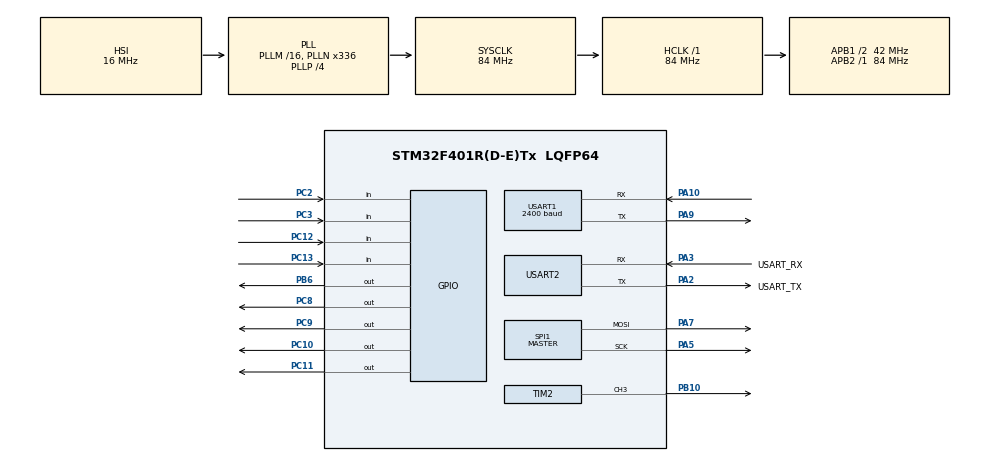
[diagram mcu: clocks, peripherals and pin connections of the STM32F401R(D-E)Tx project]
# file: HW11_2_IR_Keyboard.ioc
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Dma.Request0=SPI1_TX
Dma.SPI1_TX.0.Direction=DMA_MEMORY_TO_PERIPH
Dma.SPI1_TX.0.FIFOMode=DMA_FIFOMODE_DISABLE
Dma.SPI1_TX.0.Instance=DMA2_Stream3
Dma.SPI1_TX.0.MemDataAlignment=DMA_MDATAALIGN_BYTE
Dma.SPI1_TX.0.MemInc=DMA_MINC_ENABLE
Dma.SPI1_TX.0.Mode=DMA_NORMAL
Dma.SPI1_TX.0.PeriphDataAlignment=DMA_PDATAALIGN_BYTE
Dma.SPI1_TX.0.PeriphInc=DMA_PINC_DISABLE
Dma.SPI1_TX.0.Priority=DMA_PRIORITY_LOW
Mcu.Family=STM32F4
Mcu.Name=STM32F401R(D-E)Tx
Mcu.Package=LQFP64
NVIC.DMA2_Stream3_IRQn=true\:0\:0\:false\:false\:true\:false\:true\:true
NVIC.PriorityGroup=NVIC_PRIORITYGROUP_0
NVIC.SPI1_IRQn=true\:0\:0\:false\:false\:true\:true\:true\:true
NVIC.TIM1_UP_TIM10_IRQn=true\:0\:0\:false\:false\:true\:true\:true\:true
NVIC.TIM2_IRQn=true\:0\:0\:false\:false\:true\:true\:true\:true
NVIC.TIM3_IRQn=true\:0\:0\:false\:false\:true\:true\:true\:true
NVIC.USART1_IRQn=true\:0\:0\:false\:false\:true\:true\:true\:true
NVIC.USART2_IRQn=true\:0\:0\:false\:false\:true\:true\:true\:true
PA10.Mode=Asynchronous
PA10.Signal=USART1_RX
PA13.GPIO_Label=TMS
PA13.Mode=Serial_Wire
PA13.Signal=SYS_JTMS-SWDIO
PA14.GPIO_Label=TCK
PA14.Mode=Serial_Wire
PA14.Signal=SYS_JTCK-SWCLK
PA2.GPIO_Label=USART_TX
PA2.GPIO_Mode=GPIO_MODE_AF_PP
PA2.GPIO_PuPd=GPIO_NOPULL
PA2.GPIO_Speed=GPIO_SPEED_FREQ_LOW
PA2.Mode=Asynchronous
PA2.Signal=USART2_TX
PA3.GPIO_Label=USART_RX
PA3.GPIO_Mode=GPIO_MODE_AF_PP
PA3.GPIO_PuPd=GPIO_NOPULL
PA3.GPIO_Speed=GPIO_SPEED_FREQ_LOW
PA3.Mode=Asynchronous
PA3.Signal=USART2_RX
PA5.Mode=TX_Only_Simplex_Unidirect_Master
PA5.Signal=SPI1_SCK
PA6.Signal=SPI1_MISO
PA7.Mode=TX_Only_Simplex_Unidirect_Master
PA7.Signal=SPI1_MOSI
PA9.Mode=Asynchronous
PA9.Signal=USART1_TX
PB10.Signal=S_TIM2_CH3
PB3.GPIO_Label=SWO
PB3.Signal=SYS_JTDO-SWO
PB6.Signal=GPIO_Output
PC10.Signal=GPIO_Output
PC11.Signal=GPIO_Output
PC12.Signal=GPIO_Input
PC13-ANTI_TAMP.Signal=GPIO_Input
PC14-OSC32_IN.Mode=LSE-External-Oscillator
PC14-OSC32_IN.Signal=RCC_OSC32_IN
PC15-OSC32_OUT.Mode=LSE-External-Oscillator
PC15-OSC32_OUT.Signal=RCC_OSC32_OUT
PC2.Signal=GPIO_Input
PC3.Signal=GPIO_Input
PC8.Signal=GPIO_Output
PC9.Signal=GPIO_Output
PH0\ -\ OSC_IN.Mode=HSE-External-Clock-Source
PH0\ -\ OSC_IN.Signal=RCC_OSC_IN
PH1\ -\ OSC_OUT.Mode=HSE-External-Clock-Source
PH1\ -\ OSC_OUT.Signal=RCC_OSC_OUT
ProjectManager.HeapSize=0x200
ProjectManager.StackSize=0x400
ProjectManager.TargetToolchain=STM32CubeIDE
RCC.48MHZClocksFreq_Value=48000000
RCC.AHBFreq_Value=84000000
RCC.APB1CLKDivider=RCC_HCLK_DIV2
RCC.APB1Freq_Value=42000000
RCC.APB1TimFreq_Value=84000000
RCC.APB2Freq_Value=84000000
RCC.APB2TimFreq_Value=84000000
RCC.CortexFreq_Value=84000000
RCC.HCLKFreq_Value=84000000
RCC.HSE_VALUE=8000000
RCC.HSI_VALUE=16000000
RCC.PLLN=336
RCC.PLLP=RCC_PLLP_DIV4
RCC.PLLQ=7
RCC.SYSCLKFreq_VALUE=84000000
RCC.SYSCLKSource=RCC_SYSCLKSOURCE_PLLCLK
RCC.VCOOutputFreq_Value=336000000
SH.S_TIM2_CH3.0=TIM2_CH3,PWM Generation3 CH3
SPI1.BaudRatePrescaler=SPI_BAUDRATEPRESCALER_4
SPI1.Direction=SPI_DIRECTION_2LINES
SPI1.Mode=SPI_MODE_MASTER
SPI1.VirtualType=VM_MASTER
TIM10.Period=4000
TIM10.Prescaler=84-1
TIM2.Channel-PWM\ Generation3\ CH3=TIM_CHANNEL_3
TIM2.OCMode_PWM-PWM\ Generation3\ CH3=TIM_OCMODE_PWM2
TIM2.Period=2211-1
TIM2.Prescaler=0
TIM2.Pulse-PWM\ Generation3\ CH3=1105
TIM3.Period=35000-1
USART1.BaudRate=2400
USART1.Mode=MODE_RX
USART1.VirtualMode=VM_ASYNC
USART2.VirtualMode=VM_ASYNC
VP_TIM10_VS_ClockSourceINT.Mode=Enable_Timer
VP_TIM2_VS_ClockSourceINT.Mode=Internal
VP_TIM3_VS_ClockSourceINT.Mode=Internal
board=NUCLEO-F401RE

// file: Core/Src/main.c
/* USER CODE BEGIN Header */
/**
  ******************************************************************************
  * @file           : main.c
  * @brief          : Main program body
  ******************************************************************************
  * @attention
  *
  * Copyright (c) 2022 STMicroelectronics.
  * All rights reserved.
  *
  * This software is licensed under terms that can be found in the LICENSE file
  * in the root directory of this software component.
  * If no LICENSE file comes with this software, it is provided AS-IS.
  *
  ******************************************************************************
  */
/* USER CODE END Header */
#include "main.h"

SPI_HandleTypeDef hspi1;
DMA_HandleTypeDef hdma_spi1_tx;

TIM_HandleTypeDef htim2;
TIM_HandleTypeDef htim3;
TIM_HandleTypeDef htim10;

UART_HandleTypeDef huart1;
UART_HandleTypeDef huart2;

void SystemClock_Config(void);
static void MX_GPIO_Init(void);
static void MX_DMA_Init(void);
static void MX_USART2_UART_Init(void);
static void MX_TIM2_Init(void);
static void MX_TIM3_Init(void);
static void MX_USART1_UART_Init(void);
static void MX_SPI1_Init(void);
static void MX_TIM10_Init(void);

/* USER CODE BEGIN 0 */

#include <stdlib.h>
#include <string.h>

int column;

int matrixColumn = 0;
char symbol = '0';

struct character{
	uint8_t row;
	uint8_t col;
};

struct character ZERO[] = {
	{62,1},
	{65,2},
	{65,4},
	{65,8},
	{62,16}
};

struct character ONE[] = {
	{0,1},
	{1,2},
	{127,4},
	{33,8},
	{0,16}
};

struct character TWO[] = {
	{49,1},
	{73,2},
	{69,4},
	{67,8},
	{49,16}
};

struct character THREE[] = {
	{54,1},
	{73,2},
	{73,4},
	{73,8},
	{65,16}
};

struct character FOUR[] = {
	{4,1},
	{127,2},
	{36,4},
	{20,8},
	{12,16}
};

struct character FIVE[] = {
	{70,1},
	{73,2},
	{73,4},
	{73,8},
	{121,16}
};

struct character SIX[] = {
	{6,1},
	{73,2},
	{73,4},
	{73,8},
	{62,16}
};

struct character SEVEN[] = {
	{96,1},
	{80,2},
	{79,4},
	{64,8},
	{64,16}
};

struct character EIGHT[] = {
	{54,1},
	{73,2},
	{73,4},
	{73,8},
	{54,16}
};

struct character NINE[] = {
	{62,1},
	{73,2},
	{73,4},
	{73,8},
	{48,16}
};

struct character A[] = {
	{31,1},
	{36,2},
	{68,4},
	{36,8},
	{31,16}
};

struct character B[] = {
	{62,1},
	{73,2},
	{73,4},
	{73,8},
	{127,16}
};

struct character C[] = {
	{65,1},
	{65,2},
	{65,4},
	{65,8},
	{62,16}
};
struct character D[] = {
	{62,1},
	{65,2},
	{65,4},
	{65,8},
	{127,16}
};
struct character E[] = {
	{73,1},
	{73,2},
	{73,4},
	{73,8},
	{127,16}
};
struct character F[] = {
	{72,1},
	{72,2},
	{72,4},
	{72,8},
	{127,16}
};

char receivedByte;

int elapsedBaud = 0;

int column_index = 0;
int column_flag = 1;

//keyboard mapping buttons to a character
char map[16] = "FB73EA62D951C840";

int key_press[16];
int ack[16];

void IRByteTransmit(char byte){
	  elapsedBaud = 1;
	  HAL_TIM_Base_Start_IT(&htim3);
	  while(elapsedBaud == 0){

	  }

	  HAL_TIM_PWM_Start(&htim2, TIM_CHANNEL_3);
	  elapsedBaud = 0;
	  while(elapsedBaud == 0){

	  }

	  for(int i = 0; i < 8; i ++){
		  if((byte & (0x01 << i)) == 0){
			  HAL_TIM_PWM_Start(&htim2, TIM_CHANNEL_3);
		  }
		  else{
			  HAL_TIM_PWM_Stop(&htim2, TIM_CHANNEL_3);
		  }
		  elapsedBaud = 0;
		  while(elapsedBaud == 0){

		  }
	  }

	  HAL_TIM_PWM_Stop(&htim2, TIM_CHANNEL_3);
	  while(elapsedBaud == 0){

	  }

	  HAL_TIM_Base_Stop_IT(&htim3);
	  elapsedBaud = 0;

}

void HAL_UART_RxCpltCallback(UART_HandleTypeDef *huart){

	if(huart == &huart1){

		HAL_UART_Receive_IT(&huart1, (uint8_t*)&receivedByte, 1);

		char RX = receivedByte;

		symbol = RX;
	}
}

void HAL_TIM_PeriodElapsedCallback(TIM_HandleTypeDef *htim){

	if(htim == &htim3){
		elapsedBaud = 1;
	}
	if(htim == &htim10){
		struct character *chosen;
		switch (symbol) {
		case '0': chosen = ZERO; break;
		case '1': chosen = ONE; break;
		case '2': chosen = TWO; break;
		case '3': chosen = THREE; break;
		case '4': chosen = FOUR; break;
		case '5': chosen = FIVE; break;
		case '6': chosen = SIX; break;
		case '7': chosen = SEVEN; break;
		case '8': chosen = EIGHT; break;
		case '9': chosen = NINE; break;
		case 'A': chosen = A; break;
		case 'B': chosen = B; break;
		case 'C': chosen = C; break;
		case 'D': chosen = D; break;
		case 'E': chosen = E; break;
		case 'F': chosen = F; break;

		}
		HAL_SPI_Transmit_DMA(&hspi1,(uint8_t*)(chosen + matrixColumn) , 2);
	}
}

void HAL_SPI_TxCpltCallback(SPI_HandleTypeDef *hspi)
{
	if(hspi == &hspi1){
		HAL_GPIO_WritePin(GPIOB, GPIO_PIN_6, 1);

		matrixColumn = (matrixColumn+1)%5;

		HAL_GPIO_WritePin(GPIOB, GPIO_PIN_6, 0);

		HAL_TIM_Base_Start_IT(&htim10);

	}
}

/* USER CODE END 0 */

int main(void)
{

  /* MCU Configuration--------------------------------------------------------*/

  /* Reset of all peripherals, Initializes the Flash interface and the Systick. */
  HAL_Init();

  /* Configure the system clock */
  SystemClock_Config();

  /* Initialize all configured peripherals */
  MX_GPIO_Init();
  MX_DMA_Init();
  MX_USART2_UART_Init();
  MX_TIM2_Init();
  MX_TIM3_Init();
  MX_USART1_UART_Init();
  MX_SPI1_Init();
  MX_TIM10_Init();
  /* USER CODE BEGIN 2 */

  HAL_TIM_Base_Start_IT(&htim10);
  HAL_UART_Receive_IT(&huart1, (uint8_t*)&receivedByte, 1);

  /* USER CODE END 2 */

  /* Infinite loop */
  /* USER CODE BEGIN WHILE */
  while (1) {

  		HAL_GPIO_WritePin(GPIOC, GPIO_PIN_10, column_index == 0);
  		HAL_GPIO_WritePin(GPIOC, GPIO_PIN_9, column_index == 1);
  		HAL_GPIO_WritePin(GPIOC, GPIO_PIN_8, column_index == 2);
  		HAL_GPIO_WritePin(GPIOC, GPIO_PIN_11, column_index == 3);

  		HAL_Delay(5); // waits for the column activation to be completed

  		column_index = (column_index + 1) % 4; // iterates from 0 to 4 in loop

  		// reads every button press
  		key_press[4*column_index] = !HAL_GPIO_ReadPin(GPIOC, GPIO_PIN_3);
  		key_press[4*column_index+1] = !HAL_GPIO_ReadPin(GPIOC, GPIO_PIN_2);
  		key_press[4*column_index+2] = !HAL_GPIO_ReadPin(GPIOC, GPIO_PIN_13);
  		key_press[4*column_index+3] = !HAL_GPIO_ReadPin(GPIOC, GPIO_PIN_12);

  		for (int i=0; i<16; i++) {
  			if (key_press[i]) { // if the corresponding button was pressed
  				if (!ack[i]) {
  					// prints string containing the pressed character on terminal
  					IRByteTransmit(map[i]);
  					ack[i] = 1;
  				}
  			} else {
  				ack [i] = 0;
  			}
  		}

    /* USER CODE END WHILE */

  	}
}

void SystemClock_Config(void)
{
  RCC_OscInitTypeDef RCC_OscInitStruct = {0};
  RCC_ClkInitTypeDef RCC_ClkInitStruct = {0};

  /** Configure the main internal regulator output voltage
  */
  __HAL_RCC_PWR_CLK_ENABLE();
  __HAL_PWR_VOLTAGESCALING_CONFIG(PWR_REGULATOR_VOLTAGE_SCALE2);

  /** Initializes the RCC Oscillators according to the specified parameters
  * in the RCC_OscInitTypeDef structure.
  */
  RCC_OscInitStruct.OscillatorType = RCC_OSCILLATORTYPE_HSI;
  RCC_OscInitStruct.HSIState = RCC_HSI_ON;
  RCC_OscInitStruct.HSICalibrationValue = RCC_HSICALIBRATION_DEFAULT;
  RCC_OscInitStruct.PLL.PLLState = RCC_PLL_ON;
  RCC_OscInitStruct.PLL.PLLSource = RCC_PLLSOURCE_HSI;
  RCC_OscInitStruct.PLL.PLLM = 16;
  RCC_OscInitStruct.PLL.PLLN = 336;
  RCC_OscInitStruct.PLL.PLLP = RCC_PLLP_DIV4;
  RCC_OscInitStruct.PLL.PLLQ = 7;
  if (HAL_RCC_OscConfig(&RCC_OscInitStruct) != HAL_OK)
  {
    Error_Handler();
  }

  /** Initializes the CPU, AHB and APB buses clocks
  */
  RCC_ClkInitStruct.ClockType = RCC_CLOCKTYPE_HCLK|RCC_CLOCKTYPE_SYSCLK
                              |RCC_CLOCKTYPE_PCLK1|RCC_CLOCKTYPE_PCLK2;
  RCC_ClkInitStruct.SYSCLKSource = RCC_SYSCLKSOURCE_PLLCLK;
  RCC_ClkInitStruct.AHBCLKDivider = RCC_SYSCLK_DIV1;
  RCC_ClkInitStruct.APB1CLKDivider = RCC_HCLK_DIV2;
  RCC_ClkInitStruct.APB2CLKDivider = RCC_HCLK_DIV1;

  if (HAL_RCC_ClockConfig(&RCC_ClkInitStruct, FLASH_LATENCY_2) != HAL_OK)
  {
    Error_Handler();
  }
}

static void MX_SPI1_Init(void)
{

  /* SPI1 parameter configuration*/
  hspi1.Instance = SPI1;
  hspi1.Init.Mode = SPI_MODE_MASTER;
  hspi1.Init.Direction = SPI_DIRECTION_2LINES;
  hspi1.Init.DataSize = SPI_DATASIZE_8BIT;
  hspi1.Init.CLKPolarity = SPI_POLARITY_LOW;
  hspi1.Init.CLKPhase = SPI_PHASE_1EDGE;
  hspi1.Init.NSS = SPI_NSS_SOFT;
  hspi1.Init.BaudRatePrescaler = SPI_BAUDRATEPRESCALER_4;
  hspi1.Init.FirstBit = SPI_FIRSTBIT_MSB;
  hspi1.Init.TIMode = SPI_TIMODE_DISABLE;
  hspi1.Init.CRCCalculation = SPI_CRCCALCULATION_DISABLE;
  hspi1.Init.CRCPolynomial = 10;
  if (HAL_SPI_Init(&hspi1) != HAL_OK)
  {
    Error_Handler();
  }

}

static void MX_TIM2_Init(void)
{

  TIM_ClockConfigTypeDef sClockSourceConfig = {0};
  TIM_MasterConfigTypeDef sMasterConfig = {0};
  TIM_OC_InitTypeDef sConfigOC = {0};

  htim2.Instance = TIM2;
  htim2.Init.Prescaler = 0;
  htim2.Init.CounterMode = TIM_COUNTERMODE_UP;
  htim2.Init.Period = 2211-1;
  htim2.Init.ClockDivision = TIM_CLOCKDIVISION_DIV1;
  htim2.Init.AutoReloadPreload = TIM_AUTORELOAD_PRELOAD_DISABLE;
  if (HAL_TIM_Base_Init(&htim2) != HAL_OK)
  {
    Error_Handler();
  }
  sClockSourceConfig.ClockSource = TIM_CLOCKSOURCE_INTERNAL;
  if (HAL_TIM_ConfigClockSource(&htim2, &sClockSourceConfig) != HAL_OK)
  {
    Error_Handler();
  }
  if (HAL_TIM_PWM_Init(&htim2) != HAL_OK)
  {
    Error_Handler();
  }
  sMasterConfig.MasterOutputTrigger = TIM_TRGO_RESET;
  sMasterConfig.MasterSlaveMode = TIM_MASTERSLAVEMODE_DISABLE;
  if (HAL_TIMEx_MasterConfigSynchronization(&htim2, &sMasterConfig) != HAL_OK)
  {
    Error_Handler();
  }
  sConfigOC.OCMode = TIM_OCMODE_PWM2;
  sConfigOC.Pulse = 1105;
  sConfigOC.OCPolarity = TIM_OCPOLARITY_HIGH;
  sConfigOC.OCFastMode = TIM_OCFAST_DISABLE;
  if (HAL_TIM_PWM_ConfigChannel(&htim2, &sConfigOC, TIM_CHANNEL_3) != HAL_OK)
  {
    Error_Handler();
  }
  HAL_TIM_MspPostInit(&htim2);

}

static void MX_TIM3_Init(void)
{

  TIM_ClockConfigTypeDef sClockSourceConfig = {0};
  TIM_MasterConfigTypeDef sMasterConfig = {0};

  htim3.Instance = TIM3;
  htim3.Init.Prescaler = 0;
  htim3.Init.CounterMode = TIM_COUNTERMODE_UP;
  htim3.Init.Period = 35000-1;
  htim3.Init.ClockDivision = TIM_CLOCKDIVISION_DIV1;
  htim3.Init.AutoReloadPreload = TIM_AUTORELOAD_PRELOAD_DISABLE;
  if (HAL_TIM_Base_Init(&htim3) != HAL_OK)
  {
    Error_Handler();
  }
  sClockSourceConfig.ClockSource = TIM_CLOCKSOURCE_INTERNAL;
  if (HAL_TIM_ConfigClockSource(&htim3, &sClockSourceConfig) != HAL_OK)
  {
    Error_Handler();
  }
  sMasterConfig.MasterOutputTrigger = TIM_TRGO_RESET;
  sMasterConfig.MasterSlaveMode = TIM_MASTERSLAVEMODE_DISABLE;
  if (HAL_TIMEx_MasterConfigSynchronization(&htim3, &sMasterConfig) != HAL_OK)
  {
    Error_Handler();
  }

}

static void MX_TIM10_Init(void)
{

  htim10.Instance = TIM10;
  htim10.Init.Prescaler = 84-1;
  htim10.Init.CounterMode = TIM_COUNTERMODE_UP;
  htim10.Init.Period = 4000;
  htim10.Init.ClockDivision = TIM_CLOCKDIVISION_DIV1;
  htim10.Init.AutoReloadPreload = TIM_AUTORELOAD_PRELOAD_DISABLE;
  if (HAL_TIM_Base_Init(&htim10) != HAL_OK)
  {
    Error_Handler();
  }

}

static void MX_USART1_UART_Init(void)
{

  huart1.Instance = USART1;
  huart1.Init.BaudRate = 2400;
  huart1.Init.WordLength = UART_WORDLENGTH_8B;
  huart1.Init.StopBits = UART_STOPBITS_1;
  huart1.Init.Parity = UART_PARITY_NONE;
  huart1.Init.Mode = UART_MODE_RX;
  huart1.Init.HwFlowCtl = UART_HWCONTROL_NONE;
  huart1.Init.OverSampling = UART_OVERSAMPLING_16;
  if (HAL_UART_Init(&huart1) != HAL_OK)
  {
    Error_Handler();
  }

}

static void MX_USART2_UART_Init(void)
{

  huart2.Instance = USART2;
  huart2.Init.BaudRate = 115200;
  huart2.Init.WordLength = UART_WORDLENGTH_8B;
  huart2.Init.StopBits = UART_STOPBITS_1;
  huart2.Init.Parity = UART_PARITY_NONE;
  huart2.Init.Mode = UART_MODE_TX_RX;
  huart2.Init.HwFlowCtl = UART_HWCONTROL_NONE;
  huart2.Init.OverSampling = UART_OVERSAMPLING_16;
  if (HAL_UART_Init(&huart2) != HAL_OK)
  {
    Error_Handler();
  }

}

static void MX_DMA_Init(void)
{

  /* DMA controller clock enable */
  __HAL_RCC_DMA2_CLK_ENABLE();

  /* DMA interrupt init */
  /* DMA2_Stream3_IRQn interrupt configuration */
  HAL_NVIC_SetPriority(DMA2_Stream3_IRQn, 0, 0);
  HAL_NVIC_EnableIRQ(DMA2_Stream3_IRQn);

}

static void MX_GPIO_Init(void)
{
  GPIO_InitTypeDef GPIO_InitStruct = {0};

  /* GPIO Ports Clock Enable */
  __HAL_RCC_GPIOC_CLK_ENABLE();
  __HAL_RCC_GPIOH_CLK_ENABLE();
  __HAL_RCC_GPIOA_CLK_ENABLE();
  __HAL_RCC_GPIOB_CLK_ENABLE();

  /*Configure GPIO pin Output Level */
  HAL_GPIO_WritePin(GPIOC, GPIO_PIN_8|GPIO_PIN_9|GPIO_PIN_10|GPIO_PIN_11, GPIO_PIN_RESET);

  /*Configure GPIO pin Output Level */
  HAL_GPIO_WritePin(GPIOB, GPIO_PIN_6, GPIO_PIN_RESET);

  /*Configure GPIO pins : PC13 PC2 PC3 PC12 */
  GPIO_InitStruct.Pin = GPIO_PIN_13|GPIO_PIN_2|GPIO_PIN_3|GPIO_PIN_12;
  GPIO_InitStruct.Mode = GPIO_MODE_INPUT;
  GPIO_InitStruct.Pull = GPIO_NOPULL;
  HAL_GPIO_Init(GPIOC, &GPIO_InitStruct);

  /*Configure GPIO pins : PC8 PC9 PC10 PC11 */
  GPIO_InitStruct.Pin = GPIO_PIN_8|GPIO_PIN_9|GPIO_PIN_10|GPIO_PIN_11;
  GPIO_InitStruct.Mode = GPIO_MODE_OUTPUT_PP;
  GPIO_InitStruct.Pull = GPIO_NOPULL;
  GPIO_InitStruct.Speed = GPIO_SPEED_FREQ_LOW;
  HAL_GPIO_Init(GPIOC, &GPIO_InitStruct);

  /*Configure GPIO pin : PB6 */
  GPIO_InitStruct.Pin = GPIO_PIN_6;
  GPIO_InitStruct.Mode = GPIO_MODE_OUTPUT_PP;
  GPIO_InitStruct.Pull = GPIO_NOPULL;
  GPIO_InitStruct.Speed = GPIO_SPEED_FREQ_LOW;
  HAL_GPIO_Init(GPIOB, &GPIO_InitStruct);

}

void Error_Handler(void)
{
  __disable_irq();
  while (1)
  {
  }
}
